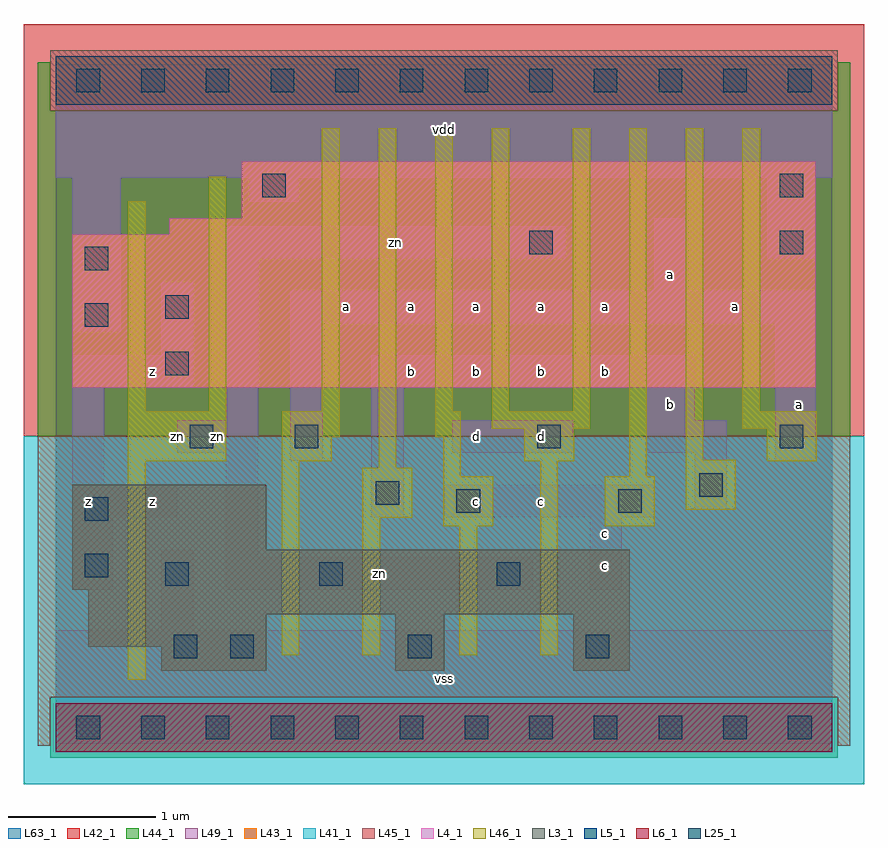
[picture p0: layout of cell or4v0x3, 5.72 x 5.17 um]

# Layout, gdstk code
import gdstk
lib = gdstk.Library(unit=1e-6, precision=1e-09)
def R(c, l, rs):  # rectangles x0, y0, x1, y1
    for r in rs: c.add(gdstk.rectangle(r[:2], r[2:], *l))
def A(c, l, x, y, w, h, nx, ny, dx, dy):  # array of equal rectangles
    R(c, l, [(x+i*dx, y+j*dy, x+i*dx+w, y+j*dy+h) for i in range(nx) for j in range(ny)])
L3_1 = (3, 1)
L4_1 = (4, 1)
L5_1 = (5, 1)
L6_1 = (6, 1)
L25_1 = (25, 1)
L41_1 = (41, 1)
L42_1 = (42, 1)
L43_1 = (43, 1)
L44_1 = (44, 1)
L45_1 = (45, 1)
L46_1 = (46, 1)
L49_1 = (49, 1)
L63_1 = (63, 1)

or4v0x3 = lib.new_cell('or4v0x3')
R(or4v0x3, L3_1, [(0.715,0.385,1.43,0.55), (2.31,0.385,2.64,0.77), (3.52,0.385,3.905,0.77), (0.22,0.55,1.43,0.77), (0.22,0.77,3.905,0.935), (0.11,0.935,3.905,1.21), (0.11,1.21,1.43,1.65)])
R(or4v0x3, L4_1, [(0.11,2.31,5.17,3.355), (0.77,3.355,5.17,3.465), (1.265,3.465,5.17,3.85)])
R(or4v0x3, L5_1, [(0,4.235,5.28,4.565)])
R(or4v0x3, L6_1, [(0,-0.165,5.28,0.165)])
A(or4v0x3, L25_1, 0.14, -0.08, 0.16, 0.16, 12, 2, 0.44, 4.4)
A(or4v0x3, L25_1, 1.185, 0.47, 0.16, 0.16, 3, 1, 1.21, 0)
A(or4v0x3, L25_1, 1.625, 1.9, 0.16, 0.16, 3, 1, 1.65, 0)
R(or4v0x3, L25_1, [(0.8,0.47,0.96,0.63), (0.745,0.965,0.905,1.125), (1.79,0.965,1.95,1.125), (3,0.965,3.16,1.125), (0.195,1.02,0.355,1.18), (0.195,1.405,0.355,1.565), (2.725,1.46,2.885,1.62), (3.825,1.46,3.985,1.62), (2.175,1.515,2.335,1.675), (4.375,1.57,4.535,1.73), (0.91,1.9,1.07,2.06), (0.745,2.395,0.905,2.555), (0.195,2.725,0.355,2.885), (0.745,2.78,0.905,2.94), (0.195,3.11,0.355,3.27), (3.22,3.22,3.38,3.38), (4.925,3.22,5.085,3.38), (1.405,3.605,1.565,3.765), (4.925,3.605,5.085,3.765)])
R(or4v0x3, L41_1, [(-0.22,-0.385,5.5,1.98)])
R(or4v0x3, L42_1, [(-0.22,1.98,5.5,4.785)])
R(or4v0x3, L43_1, [(0,-0.165,5.28,0.165), (0.715,0.385,1.43,0.55), (2.31,0.385,2.64,0.77), (3.52,0.385,3.905,0.77), (0.22,0.55,1.43,0.77), (0.22,0.77,3.905,0.935), (0.11,0.935,3.905,1.21), (0.11,1.21,1.43,1.65), (0.11,2.31,5.17,3.355), (0.77,3.355,5.17,3.465), (1.265,3.465,5.17,3.85), (0,4.235,5.28,4.565)])
R(or4v0x3, L44_1, [(-0.04,-0.205,5.32,0.205), (-0.125,1.98,5.405,4.195), (-0.125,4.195,-0.04,4.525), (5.32,4.195,5.405,4.525)])
R(or4v0x3, L45_1, [(-0.125,-0.125,-0.04,0.205), (5.32,-0.125,5.405,0.205), (-0.125,0.205,5.405,1.98), (-0.04,4.195,5.32,4.605)])
R(or4v0x3, L46_1, [(0.49,0.325,0.61,1.81), (1.535,0.49,1.655,1.81), (2.085,0.49,2.205,1.425), (2.745,0.49,2.865,1.37), (3.295,0.49,3.415,1.81), (2.635,1.37,2.975,1.71), (3.735,1.37,4.075,1.71), (2.085,1.425,2.425,1.765), (4.285,1.48,4.625,1.82), (2.635,1.71,2.755,1.975), (3.9,1.71,4.02,4.075), (2.195,1.765,2.315,4.075), (0.49,1.81,1.16,2.15), (1.535,1.81,1.875,1.975), (3.185,1.81,3.525,2.03), (4.835,1.81,5.175,2.03), (4.285,1.82,4.405,4.075), (1.535,1.975,1.93,2.15), (2.58,1.975,2.755,2.15), (2.965,2.03,3.635,2.15), (4.67,2.03,5.175,2.15), (0.49,2.15,0.61,3.58), (1.04,2.15,1.16,3.745), (1.81,2.15,1.93,4.075), (2.58,2.15,2.7,4.075), (2.965,2.15,3.085,4.075), (3.515,2.15,3.635,4.075), (4.67,2.15,4.79,4.075)])
R(or4v0x3, L49_1, [(0,-0.11,5.28,0.66), (0.715,0.66,0.935,1.21), (0.11,0.935,0.385,1.43), (1.155,0.935,3.245,1.155), (3.63,0.935,3.85,1.43), (1.155,1.155,1.375,1.87), (0.11,1.43,0.825,1.65), (2.145,1.43,2.365,2.31), (2.64,1.43,4.07,1.65), (4.345,1.485,4.565,1.87), (0.11,1.65,0.33,2.31), (1.595,1.815,1.815,2.75), (4.895,1.815,5.17,2.75), (0.825,1.87,1.375,2.09), (2.695,1.87,3.52,2.09), (4.015,1.87,4.565,2.09), (1.155,2.09,1.375,3.19), (4.015,2.09,4.345,2.31), (0.11,2.31,0.935,2.53), (2.145,2.31,4.345,2.53), (0.715,2.53,0.935,3.025), (0.11,2.695,0.44,3.74), (1.595,2.75,5.17,2.97), (4.07,2.97,4.29,3.465), (1.155,3.19,3.465,3.41), (4.84,3.19,5.17,3.74), (1.32,3.575,1.65,3.74), (0,3.74,5.28,4.51)])
R(or4v0x3, L63_1, [(0,0,5.28,4.4)])
or4v0x3.add(gdstk.Label('zn', (0.825,1.98), layer=46, texttype=1))
or4v0x3.add(gdstk.Label('z', (0.22,1.54), layer=49, texttype=1))
or4v0x3.add(gdstk.Label('z', (0.66,1.54), layer=49, texttype=1))
or4v0x3.add(gdstk.Label('z', (0.66,2.42), layer=49, texttype=1))
or4v0x3.add(gdstk.Label('zn', (1.1,1.98), layer=49, texttype=1))
or4v0x3.add(gdstk.Label('vss', (2.64,0.33), layer=49, texttype=1))
or4v0x3.add(gdstk.Label('c', (2.86,1.54), layer=49, texttype=1))
or4v0x3.add(gdstk.Label('b', (2.42,2.42), layer=49, texttype=1))
or4v0x3.add(gdstk.Label('d', (2.86,1.98), layer=49, texttype=1))
or4v0x3.add(gdstk.Label('b', (2.86,2.42), layer=49, texttype=1))
or4v0x3.add(gdstk.Label('a', (2.42,2.86), layer=49, texttype=1))
or4v0x3.add(gdstk.Label('a', (2.86,2.86), layer=49, texttype=1))
or4v0x3.add(gdstk.Label('a', (1.98,2.86), layer=49, texttype=1))
or4v0x3.add(gdstk.Label('vdd', (2.64,4.07), layer=49, texttype=1))
or4v0x3.add(gdstk.Label('c', (3.3,1.54), layer=49, texttype=1))
or4v0x3.add(gdstk.Label('zn', (2.2,1.045), layer=49, texttype=1))
or4v0x3.add(gdstk.Label('c', (3.74,1.1), layer=49, texttype=1))
or4v0x3.add(gdstk.Label('c', (3.74,1.32), layer=49, texttype=1))
or4v0x3.add(gdstk.Label('d', (3.3,1.98), layer=49, texttype=1))
or4v0x3.add(gdstk.Label('b', (3.3,2.42), layer=49, texttype=1))
or4v0x3.add(gdstk.Label('b', (3.74,2.42), layer=49, texttype=1))
or4v0x3.add(gdstk.Label('b', (4.18,2.2), layer=49, texttype=1))
or4v0x3.add(gdstk.Label('a', (3.74,2.86), layer=49, texttype=1))
or4v0x3.add(gdstk.Label('a', (3.3,2.86), layer=49, texttype=1))
or4v0x3.add(gdstk.Label('zn', (2.31,3.3), layer=49, texttype=1))
or4v0x3.add(gdstk.Label('a', (4.18,3.08), layer=49, texttype=1))
or4v0x3.add(gdstk.Label('a', (5.06,2.2), layer=49, texttype=1))
or4v0x3.add(gdstk.Label('a', (4.62,2.86), layer=49, texttype=1))

lib.write_gds('or4v0x3.gds')
